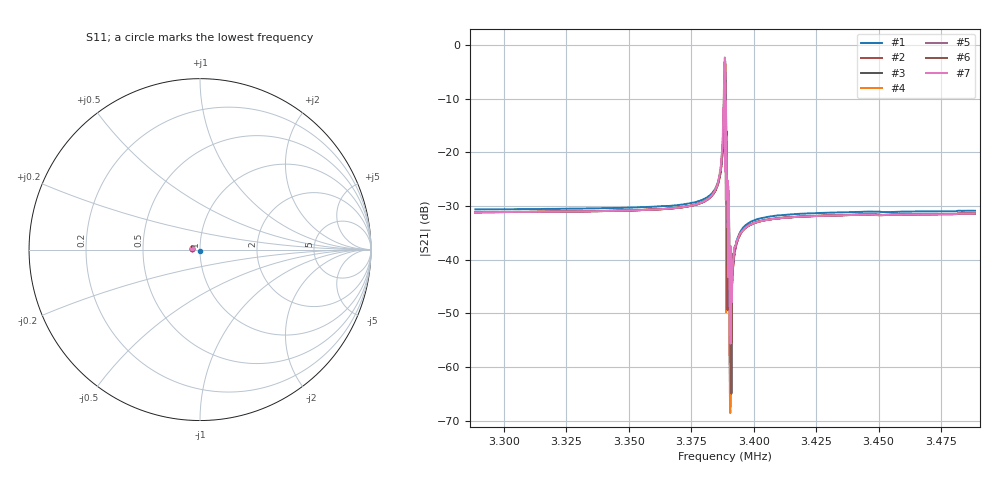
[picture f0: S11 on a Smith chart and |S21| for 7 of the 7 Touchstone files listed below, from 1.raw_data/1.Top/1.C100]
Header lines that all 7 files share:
# Hz S dB R 50.000
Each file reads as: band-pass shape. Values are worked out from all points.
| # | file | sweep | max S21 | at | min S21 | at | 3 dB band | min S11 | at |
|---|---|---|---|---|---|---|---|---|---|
| 1 | C100_20C.s2p | 3.289 MHz to 3.489 MHz | -5.28 dB | 3.389 MHz | -58.1 dB | 3.391 MHz | 3.388 MHz-3.389 MHz | -43.4 dB | 3.486 MHz |
| 2 | C100_25C.s2p | 3.289 MHz to 3.489 MHz | -6.87 dB | 3.389 MHz | -63.1 dB | 3.391 MHz | 3.388 MHz-3.389 MHz | -26.5 dB | 3.485 MHz |
| 3 | C100_35C.s2p | 3.289 MHz to 3.489 MHz | -4.64 dB | 3.389 MHz | -67.5 dB | 3.391 MHz | 3.388 MHz-3.389 MHz | -26.5 dB | 3.487 MHz |
| 4 | C100_45C.s2p | 3.289 MHz to 3.489 MHz | -3.49 dB | 3.389 MHz | -68.6 dB | 3.391 MHz | 3.388 MHz-3.389 MHz | -26.5 dB | 3.484 MHz |
| 5 | C100_50C.s2p | 3.289 MHz to 3.489 MHz | -2.95 dB | 3.389 MHz | -59.2 dB | 3.391 MHz | 3.388 MHz-3.389 MHz | -26.5 dB | 3.481 MHz |
| 6 | C100_55C.s2p | 3.288 MHz to 3.488 MHz | -2.94 dB | 3.388 MHz | -65.0 dB | 3.391 MHz | 3.388 MHz-3.389 MHz | -26.5 dB | 3.477 MHz |
| 7 | C100_65C.s2p | 3.288 MHz to 3.488 MHz | -2.25 dB | 3.388 MHz | -55.7 dB | 3.391 MHz | 3.388 MHz-3.388 MHz | -26.5 dB | 3.475 MHz |
